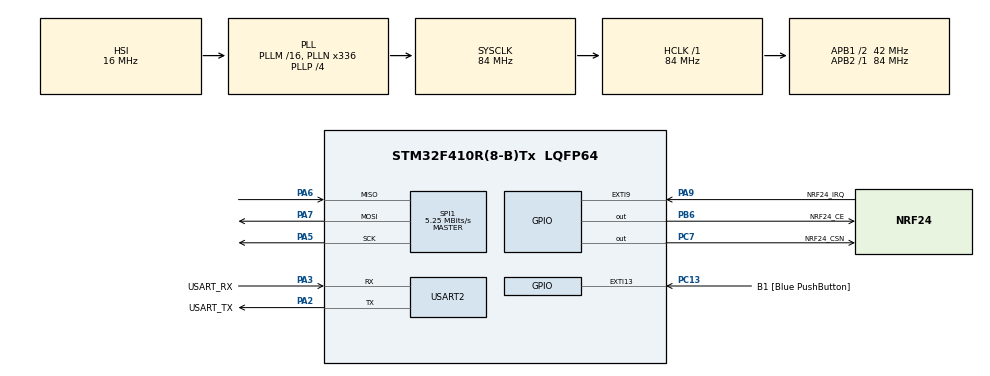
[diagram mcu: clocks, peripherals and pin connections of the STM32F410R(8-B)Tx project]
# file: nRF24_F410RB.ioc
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Mcu.Family=STM32F4
Mcu.Name=STM32F410R(8-B)Tx
Mcu.Package=LQFP64
NVIC.EXTI9_5_IRQn=true\:0\:0\:false\:true\:true\:1\:true\:true
NVIC.PriorityGroup=NVIC_PRIORITYGROUP_0
PA13.GPIO_Label=TMS
PA13.Mode=Serial_Wire
PA13.Signal=SYS_JTMS-SWDIO
PA14.GPIO_Label=TCK
PA14.Mode=Serial_Wire
PA14.Signal=SYS_JTCK-SWCLK
PA2.GPIO_Label=USART_TX
PA2.Mode=Asynchronous
PA2.Signal=USART2_TX
PA3.GPIO_Label=USART_RX
PA3.Mode=Asynchronous
PA3.Signal=USART2_RX
PA5.Mode=Full_Duplex_Master
PA5.Signal=SPI1_SCK
PA6.Mode=Full_Duplex_Master
PA6.Signal=SPI1_MISO
PA7.Mode=Full_Duplex_Master
PA7.Signal=SPI1_MOSI
PA9.GPIO_Label=NRF24_IRQ
PA9.GPIO_ModeDefaultEXTI=GPIO_MODE_IT_FALLING
PA9.GPIO_PuPd=GPIO_NOPULL
PA9.Signal=GPXTI9
PB3.GPIO_Label=SWO
PB3.Signal=SYS_JTDO-SWO
PB6.GPIO_Label=NRF24_CE
PB6.Signal=GPIO_Output
PC13-ANTI_TAMP.GPIO_Label=B1 [Blue PushButton]
PC13-ANTI_TAMP.GPIO_ModeDefaultEXTI=GPIO_MODE_IT_FALLING
PC13-ANTI_TAMP.Signal=GPXTI13
PC14-OSC32_IN.Mode=LSE-External-Oscillator
PC14-OSC32_IN.Signal=RCC_OSC32_IN
PC15-OSC32_OUT.Mode=LSE-External-Oscillator
PC15-OSC32_OUT.Signal=RCC_OSC32_OUT
PC7.GPIO_Label=NRF24_CSN
PC7.Signal=GPIO_Output
PH0\ -\ OSC_IN.Mode=HSE-External-Clock-Source
PH0\ -\ OSC_IN.Signal=RCC_OSC_IN
PH1\ -\ OSC_OUT.Mode=HSE-External-Clock-Source
PH1\ -\ OSC_OUT.Signal=RCC_OSC_OUT
ProjectManager.HeapSize=0x200
ProjectManager.StackSize=0x400
ProjectManager.TargetToolchain=STM32CubeIDE
RCC.48MHZClocksFreq_Value=84000000
RCC.AHBFreq_Value=84000000
RCC.APB1CLKDivider=RCC_HCLK_DIV2
RCC.APB1Freq_Value=42000000
RCC.APB1TimFreq_Value=84000000
RCC.APB2Freq_Value=84000000
RCC.APB2TimFreq_Value=84000000
RCC.CortexFreq_Value=84000000
RCC.FLatency-AdvancedSettings=FLASH_LATENCY_2
RCC.HCLKFreq_Value=84000000
RCC.HSE_VALUE=8000000
RCC.HSI_VALUE=16000000
RCC.PLLN=336
RCC.PLLP=RCC_PLLP_DIV4
RCC.SYSCLKFreq_VALUE=84000000
RCC.SYSCLKSource=RCC_SYSCLKSOURCE_PLLCLK
RCC.VCOOutputFreq_Value=336000000
SPI1.BaudRatePrescaler=SPI_BAUDRATEPRESCALER_16
SPI1.CalculateBaudRate=5.25 MBits/s
SPI1.Direction=SPI_DIRECTION_2LINES
SPI1.Mode=SPI_MODE_MASTER
SPI1.VirtualType=VM_MASTER
USART2.VirtualMode=VM_ASYNC
board=NUCLEO-F410RB

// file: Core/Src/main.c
/* USER CODE BEGIN Header */
/**
  ******************************************************************************
  * @file           : main.c
  * @brief          : Main program body
  ******************************************************************************
  * @attention
  *
  * <h2><center>&copy; Copyright (c) 2020 STMicroelectronics.
  * All rights reserved.</center></h2>
  *
  * This software component is licensed by ST under BSD 3-Clause license,
  * the "License"; You may not use this file except in compliance with the
  * License. You may obtain a copy of the License at:
  *                        opensource.org/licenses/BSD-3-Clause
  *
  ******************************************************************************
  */
/* USER CODE END Header */

#include "main.h"
#include "spi.h"
#include "usart.h"
#include "gpio.h"

/* USER CODE BEGIN Includes */
#include "stdio.h"
#include "nRF24/nRF24_Defs.h"
#include "nRF24/nRF24.h"
/* USER CODE END Includes */

/* USER CODE BEGIN PD */
#define MESSAGE_BUFF_LEN 100 // 32 payload + \0

/* USER CODE END PD */

/* USER CODE BEGIN PV */
uint8_t Nrf24_Message[MESSAGE_BUFF_LEN];
uint8_t Message[MESSAGE_BUFF_LEN];
uint8_t MessageLength;
/* USER CODE END PV */

void SystemClock_Config(void);
static void MX_NVIC_Init(void);

int main(void)
{

  /* MCU Configuration--------------------------------------------------------*/

  /* Reset of all peripherals, Initializes the Flash interface and the Systick. */
  HAL_Init();

  /* Configure the system clock */
  SystemClock_Config();

  /* Initialize all configured peripherals */
  MX_GPIO_Init();
  MX_USART2_UART_Init();
  MX_SPI1_Init();

  /* Initialize interrupts */
  MX_NVIC_Init();
  /* USER CODE BEGIN 2 */
  nRF24_Init(&hspi1);

  nRF24_SetRXAddress(0, "Odb");
  nRF24_SetTXAddress("Nad");
  nRF24_RX_Mode();
  /* USER CODE END 2 */

  /* Infinite loop */
  /* USER CODE BEGIN WHILE */
  while (1)
  {

#if (NRF24_USE_INTERRUPT == 1)
	  nRF24_Event();
#endif

		nRF24_ReadData(Message, &MessageLength);
		if(MessageLength > 0)
		{
			HAL_UART_Transmit(&huart2, Message, MessageLength, 1000);
		}

    /* USER CODE END WHILE */

  }
}

void SystemClock_Config(void)
{
  RCC_OscInitTypeDef RCC_OscInitStruct = {0};
  RCC_ClkInitTypeDef RCC_ClkInitStruct = {0};

  /** Configure the main internal regulator output voltage
  */
  __HAL_RCC_PWR_CLK_ENABLE();
  __HAL_PWR_VOLTAGESCALING_CONFIG(PWR_REGULATOR_VOLTAGE_SCALE1);
  /** Initializes the CPU, AHB and APB busses clocks
  */
  RCC_OscInitStruct.OscillatorType = RCC_OSCILLATORTYPE_HSI;
  RCC_OscInitStruct.HSIState = RCC_HSI_ON;
  RCC_OscInitStruct.HSICalibrationValue = RCC_HSICALIBRATION_DEFAULT;
  RCC_OscInitStruct.PLL.PLLState = RCC_PLL_ON;
  RCC_OscInitStruct.PLL.PLLSource = RCC_PLLSOURCE_HSI;
  RCC_OscInitStruct.PLL.PLLM = 16;
  RCC_OscInitStruct.PLL.PLLN = 336;
  RCC_OscInitStruct.PLL.PLLP = RCC_PLLP_DIV4;
  RCC_OscInitStruct.PLL.PLLQ = 4;
  RCC_OscInitStruct.PLL.PLLR = 2;
  if (HAL_RCC_OscConfig(&RCC_OscInitStruct) != HAL_OK)
  {
    Error_Handler();
  }
  /** Initializes the CPU, AHB and APB busses clocks
  */
  RCC_ClkInitStruct.ClockType = RCC_CLOCKTYPE_HCLK|RCC_CLOCKTYPE_SYSCLK
                              |RCC_CLOCKTYPE_PCLK1|RCC_CLOCKTYPE_PCLK2;
  RCC_ClkInitStruct.SYSCLKSource = RCC_SYSCLKSOURCE_PLLCLK;
  RCC_ClkInitStruct.AHBCLKDivider = RCC_SYSCLK_DIV1;
  RCC_ClkInitStruct.APB1CLKDivider = RCC_HCLK_DIV2;
  RCC_ClkInitStruct.APB2CLKDivider = RCC_HCLK_DIV1;

  if (HAL_RCC_ClockConfig(&RCC_ClkInitStruct, FLASH_LATENCY_2) != HAL_OK)
  {
    Error_Handler();
  }
}

/**
  * @brief NVIC Configuration.
  * @retval None
  */
static void MX_NVIC_Init(void)
{
  /* EXTI9_5_IRQn interrupt configuration */
  HAL_NVIC_SetPriority(EXTI9_5_IRQn, 0, 0);
  HAL_NVIC_EnableIRQ(EXTI9_5_IRQn);
}

/* USER CODE BEGIN 4 */
void HAL_GPIO_EXTI_Callback(uint16_t GPIO_Pin)
{
	if(GPIO_Pin == NRF24_IRQ_Pin)
	{
#if (NRF24_USE_INTERRUPT == 1)
		nRF24_IRQ_Handler();
#endif
	}
}

void nRF24_EventRxCallback(void)
{

}
/* USER CODE END 4 */

void Error_Handler(void)
{
}

/************************ (C) COPYRIGHT STMicroelectronics *****END OF FILE****/
